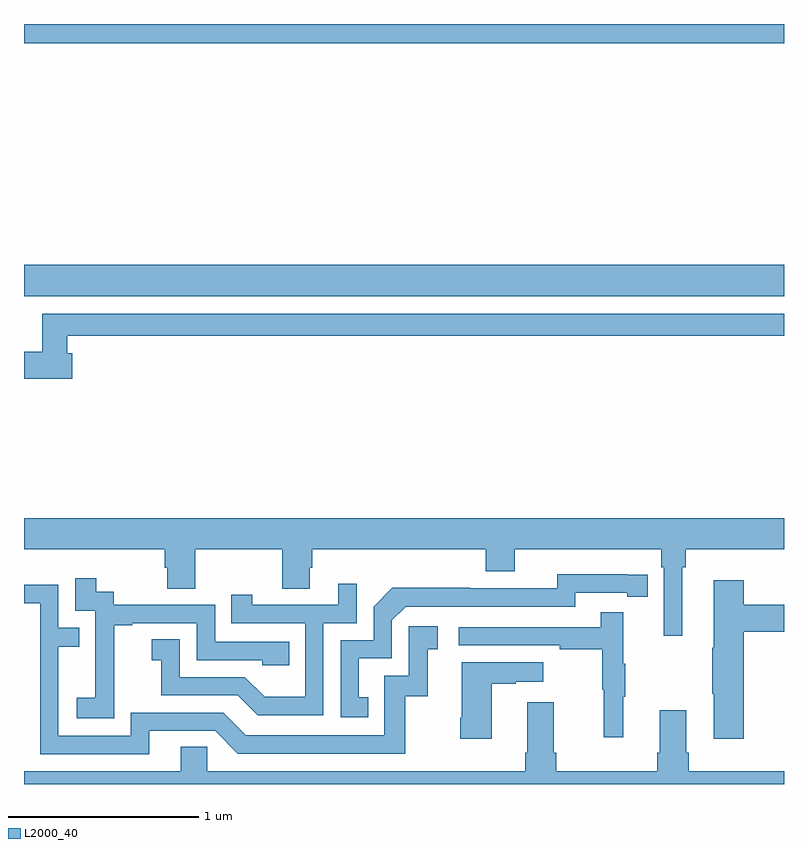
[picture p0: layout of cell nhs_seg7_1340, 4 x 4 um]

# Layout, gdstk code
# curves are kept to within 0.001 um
import gdstk
lib = gdstk.Library(unit=1e-6, precision=1e-09)
def R(c, l, rs):  # rectangles x0, y0, x1, y1
    for r in rs: c.add(gdstk.rectangle(r[:2], r[2:], *l))
def P(c, l, *ps):  # polygons
    for p in ps: c.add(gdstk.Polygon(p, *l))
L2000_40 = (2000, 40)

nhs_seg7_1340 = lib.new_cell('nhs_seg7_1340')
R(nhs_seg7_1340, L2000_40, [(203,1048.568,207,1048.732), (203,1049.9,207,1050)])
P(nhs_seg7_1340, L2000_40, [(203.255,1048.267),(203.227,1048.267),(203.227,1048.36),(207,1048.36),(207,1048.476),(203.095,1048.476),(203.095,1048.275),(203,1048.275),(203,1048.133),(203.255,1048.133)],
  [(206.464,1047.14),(206.483,1047.14),(206.483,1047.236),(207,1047.236),(207,1047.4),(203,1047.4),(203,1047.236),(203.741,1047.236),(203.741,1047.138),(203.753,1047.138),(203.753,1047.028),(203.901,1047.028),(203.901,1047.236),(204.358,1047.236),(204.358,1047.028),(204.505,1047.028),(204.505,1047.138),(204.518,1047.138),(204.518,1047.236),(205.43,1047.236),(205.43,1047.119),(205.582,1047.119),(205.582,1047.236),(206.354,1047.236),(206.354,1047.14),(206.367,1047.14),(206.367,1046.781),(206.464,1046.781)],
  [(204.812,1046.457),(204.763,1046.457),(204.763,1046.661),(204.936,1046.661),(204.936,1046.862),(205.008,1046.934),(205.902,1046.934),(205.902,1047.006),(206.174,1047.006),(206.174,1046.986),(206.282,1046.986),(206.282,1047.102),(205.806,1047.103),(205.806,1047.03),(205.346,1047.03),(205.346,1047.032),(204.938,1047.032),(204.84,1046.934),(204.84,1046.757),(204.666,1046.757),(204.666,1046.352),(204.812,1046.352)],
  [(203.475,1046.551),(203.474,1046.551),(203.474,1046.835),(203.569,1046.835),(203.569,1046.847),(203.91,1046.847),(203.91,1046.652),(204.255,1046.652),(204.255,1046.625),(204.395,1046.625),(204.395,1046.748),(204.006,1046.748),(204.006,1046.943),(203.472,1046.943),(203.472,1047.012),(203.38,1047.012),(203.38,1047.082),(203.271,1047.082),(203.271,1046.913),(203.376,1046.913),(203.376,1046.684),(203.375,1046.684),(203.375,1046.455),(203.277,1046.455),(203.277,1046.345),(203.475,1046.345)],
  [(206.789,1046.801),(207,1046.801),(207,1046.943),(206.789,1046.943),(206.789,1047.073),(206.63,1047.073),(206.63,1046.717),(206.623,1046.717),(206.623,1046.476),(206.63,1046.476),(206.63,1046.238),(206.789,1046.238)],
  [(204.576,1046.847),(204.75,1046.847),(204.75,1047.055),(204.653,1047.055),(204.653,1046.943),(204.202,1046.943),(204.202,1046.995),(204.091,1046.995),(204.091,1046.847),(204.48,1046.847),(204.48,1046.458),(204.266,1046.458),(204.162,1046.562),(203.82,1046.562),(203.82,1046.761),(203.673,1046.761),(203.673,1046.651),(203.722,1046.651),(203.722,1046.466),(204.125,1046.466),(204.23,1046.361),(204.576,1046.361)],
  [(203.659,1046.28),(204.006,1046.28),(204.126,1046.16),(205.006,1046.16),(205.006,1046.463),(205.124,1046.463),(205.124,1046.709),(205.177,1046.709),(205.177,1046.83),(205.026,1046.83),(205.026,1046.571),(204.897,1046.571),(204.897,1046.256),(204.168,1046.256),(204.048,1046.376),(203.562,1046.376),(203.562,1046.253),(203.181,1046.253),(203.181,1046.722),(203.291,1046.722),(203.291,1046.823),(203.181,1046.823),(203.181,1047.048),(203,1047.048),(203,1046.952),(203.085,1046.952),(203.085,1046.157),(203.659,1046.157)],
  [(206.153,1046.459),(206.164,1046.459),(206.164,1046.633),(206.153,1046.633),(206.153,1046.905),(206.035,1046.905),(206.035,1046.826),(205.287,1046.826),(205.287,1046.73),(205.819,1046.73),(205.819,1046.71),(206.043,1046.71),(206.043,1046.496),(206.05,1046.496),(206.05,1046.247),(206.153,1046.247)],
  [(205.462,1046.527),(205.589,1046.527),(205.589,1046.537),(205.732,1046.537),(205.732,1046.641),(205.304,1046.641),(205.304,1046.35),(205.297,1046.35),(205.297,1046.238),(205.462,1046.238)],
  [(207,1046.068),(206.498,1046.068),(206.498,1046.164),(206.485,1046.164),(206.485,1046.389),(206.345,1046.389),(206.345,1046.164),(206.333,1046.164),(206.333,1046.068),(205.802,1046.068),(205.802,1046.164),(205.789,1046.164),(205.789,1046.43),(205.649,1046.43),(205.649,1046.164),(205.637,1046.164),(205.637,1046.068),(203.964,1046.068),(203.964,1046.195),(203.825,1046.195),(203.825,1046.068),(203,1046.068),(203,1046),(207,1046)])

lib.write_gds('nhs_seg7_1340.gds')
